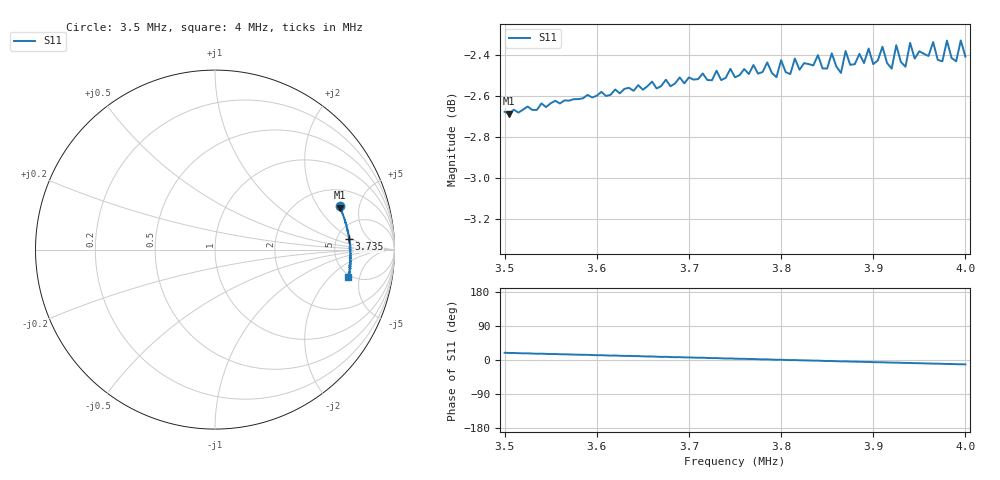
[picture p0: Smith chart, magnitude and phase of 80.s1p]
# Hz S RI R 50
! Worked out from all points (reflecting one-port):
!   101 points, 3.5 MHz to 4 MHz, reference 50 ohm
!   lowest |S11| = -2.7 dB at 3.505 MHz (marker M1), VSWR 6.52, Z = 157 + j159 ohm
!   phase of S11 starts at 19 deg and turns -31 deg over the sweep
!   S11 on the Smith chart (normalised r, x): 3.5 MHz: 3.04, +3.18; 3.735 MHz: 6.48, +1.69; 4 MHz: 4.78, -3.39
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3500000  0.6943 0.2405
3505000  0.6957 0.2339
3565000  0.7142 0.1918
3625000  0.7283 0.1441
3660000  0.7374 0.1214
3670000  0.7378 0.1065
3675000  0.74 0.1098
3685000  0.7404 0.0956
3690000  0.7426 0.098
3735000  0.7457 0.0574
3750000  0.7477 0.046
3810000  0.7504 -0.00398
3815000  0.757 -0.00195
3850000  0.752 -0.0353
3855000  0.7584 -0.0348
3865000  0.7494 -0.0475
3870000  0.7588 -0.0469
3875000  0.7524 -0.0538
3910000  0.7579 -0.08
3920000  0.7474 -0.0899
3925000  0.7571 -0.0926
3935000  0.7468 -0.1005
3940000  0.7565 -0.105
3945000  0.7491 -0.1092
3965000  0.7537 -0.1255
3975000  0.7443 -0.1316
3980000  0.7521 -0.1381
4000000  0.7426 -0.151
